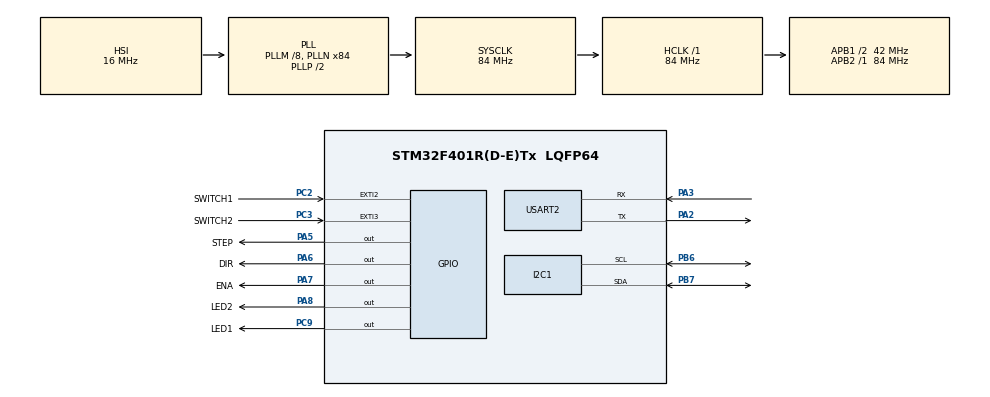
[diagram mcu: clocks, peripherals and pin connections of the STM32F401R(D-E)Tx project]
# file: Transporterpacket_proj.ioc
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Mcu.Family=STM32F4
Mcu.Name=STM32F401R(D-E)Tx
Mcu.Package=LQFP64
NVIC.EXTI2_IRQn=true\:0\:0\:false\:false\:true\:true\:true\:true
NVIC.EXTI3_IRQn=true\:0\:0\:false\:false\:true\:true\:true\:true
NVIC.PriorityGroup=NVIC_PRIORITYGROUP_4
NVIC.USART2_IRQn=true\:0\:0\:false\:false\:true\:true\:true\:true
PA2.Mode=Asynchronous
PA2.Signal=USART2_TX
PA3.Mode=Asynchronous
PA3.Signal=USART2_RX
PA5.GPIO_Label=STEP
PA5.Signal=GPIO_Output
PA6.GPIO_Label=DIR
PA6.Signal=GPIO_Output
PA7.GPIO_Label=ENA
PA7.PinState=GPIO_PIN_SET
PA7.Signal=GPIO_Output
PA8.GPIO_Label=LED2
PA8.Signal=GPIO_Output
PB6.Mode=I2C
PB6.Signal=I2C1_SCL
PB7.Mode=I2C
PB7.Signal=I2C1_SDA
PC2.GPIO_Label=SWITCH1
PC2.GPIO_ModeDefaultEXTI=GPIO_MODE_IT_FALLING
PC2.Signal=GPXTI2
PC3.GPIO_Label=SWITCH2
PC3.GPIO_ModeDefaultEXTI=GPIO_MODE_IT_FALLING
PC3.Signal=GPXTI3
PC9.GPIO_Label=LED1
PC9.Signal=GPIO_Output
ProjectManager.HeapSize=0x200
ProjectManager.StackSize=0x400
ProjectManager.TargetToolchain=STM32CubeIDE
RCC.48MHZClocksFreq_Value=42000000
RCC.AHBFreq_Value=84000000
RCC.APB1CLKDivider=RCC_HCLK_DIV2
RCC.APB1Freq_Value=42000000
RCC.APB1TimFreq_Value=84000000
RCC.APB2Freq_Value=84000000
RCC.APB2TimFreq_Value=84000000
RCC.CortexFreq_Value=84000000
RCC.HCLKFreq_Value=84000000
RCC.HSE_VALUE=25000000
RCC.HSI_VALUE=16000000
RCC.LSE_VALUE=32768
RCC.PLLM=8
RCC.PLLN=84
RCC.SYSCLKFreq_VALUE=84000000
RCC.SYSCLKSource=RCC_SYSCLKSOURCE_PLLCLK
RCC.VCOOutputFreq_Value=168000000
USART2.VirtualMode=VM_ASYNC
board=custom

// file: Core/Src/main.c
/* USER CODE BEGIN Header */
/**
  ******************************************************************************
  * @file           : main.c
  * @brief          : Main program body
  ******************************************************************************
  * @attention
  *
  * Copyright (c) 2023 STMicroelectronics.
  * All rights reserved.
  *
  * This software is licensed under terms that can be found in the LICENSE file
  * in the root directory of this software component.
  * If no LICENSE file comes with this software, it is provided AS-IS.
  *
  ******************************************************************************
  */
/* USER CODE END Header */
#include "main.h"

/* USER CODE BEGIN Includes */
#include <stdio.h>

/* USER CODE END Includes */

/* USER CODE BEGIN PTD */
typedef enum{
	STOP_STATE = 0,
	PACKET_STATE
}dev_state_t;

typedef enum{
	FORWARD_DIR = GPIO_PIN_RESET,
	BACKWARD_DIR = GPIO_PIN_SET,
	STOP_DIR = 2
}motor_direction_t;
/* USER CODE END PTD */

/* USER CODE BEGIN PD */
#define SET_DEV_STATE(state)(dev_state = state)
#define GET_DEV_STATE()(dev_state)

#define SET_DIRECTION(dir)(motor_dir = dir)
#define GET_DIRECTION()(motor_dir)

/* USER CODE END PD */

I2C_HandleTypeDef hi2c1;

UART_HandleTypeDef huart2;

void SystemClock_Config(void);
static void MX_GPIO_Init(void);
static void MX_I2C1_Init(void);
static void MX_USART2_UART_Init(void);
/* USER CODE BEGIN PFP */
int _write(int file, char *ptr, int len)
{
	int DataIdx;

	for (DataIdx = 0; DataIdx < len; DataIdx++)
	{
		ITM_SendChar(*ptr++);
	}
	return len;
}

static void enterPacketState(void);
static void enterStopState(void);
static void enableMotor(void);
static void disableMotor(void);

static void sendConfirmMessage(void);
/* USER CODE END PFP */

/* USER CODE BEGIN 0 */
dev_state_t dev_state = STOP_STATE;
motor_direction_t motor_dir = STOP_DIR;
uint8_t RxByte;

//void aperiodicTask(void const *arg);
//xTaskCreate((void*)aperiodicTask, "aperiodciTask", configMINIMAL_STACK_SIZE, NULL, 2, NULL);
//vTaskDelete(NULL); dins de aperiodictask

/* USER CODE END 0 */

int main(void)
{

  /* MCU Configuration--------------------------------------------------------*/

  /* Reset of all peripherals, Initializes the Flash interface and the Systick. */
  HAL_Init();

  /* Configure the system clock */
  SystemClock_Config();

  /* Initialize all configured peripherals */
  MX_GPIO_Init();
  MX_I2C1_Init();
  MX_USART2_UART_Init();
  /* USER CODE BEGIN 2 */

  HAL_UART_Receive_IT(&huart2, &RxByte, 1);

  /* USER CODE END 2 */

  /* Infinite loop */
  /* USER CODE BEGIN WHILE */
  while (1)
  {
	  if(GET_DEV_STATE() == PACKET_STATE){
		  uint8_t dir = GET_DIRECTION();
		  if((dir == FORWARD_DIR) || (dir == BACKWARD_DIR)){
			  HAL_GPIO_WritePin(DIR_GPIO_Port, DIR_Pin, dir);
			  HAL_GPIO_TogglePin(STEP_GPIO_Port, STEP_Pin);
		  }
		  else{
			  disableMotor();
		  }
	  }
	  HAL_Delay(1);
    /* USER CODE END WHILE */

  }
}

void SystemClock_Config(void)
{
  RCC_OscInitTypeDef RCC_OscInitStruct = {0};
  RCC_ClkInitTypeDef RCC_ClkInitStruct = {0};

  /** Configure the main internal regulator output voltage
  */
  __HAL_RCC_PWR_CLK_ENABLE();
  __HAL_PWR_VOLTAGESCALING_CONFIG(PWR_REGULATOR_VOLTAGE_SCALE2);

  /** Initializes the RCC Oscillators according to the specified parameters
  * in the RCC_OscInitTypeDef structure.
  */
  RCC_OscInitStruct.OscillatorType = RCC_OSCILLATORTYPE_HSI;
  RCC_OscInitStruct.HSIState = RCC_HSI_ON;
  RCC_OscInitStruct.HSICalibrationValue = RCC_HSICALIBRATION_DEFAULT;
  RCC_OscInitStruct.PLL.PLLState = RCC_PLL_ON;
  RCC_OscInitStruct.PLL.PLLSource = RCC_PLLSOURCE_HSI;
  RCC_OscInitStruct.PLL.PLLM = 8;
  RCC_OscInitStruct.PLL.PLLN = 84;
  RCC_OscInitStruct.PLL.PLLP = RCC_PLLP_DIV2;
  RCC_OscInitStruct.PLL.PLLQ = 4;
  if (HAL_RCC_OscConfig(&RCC_OscInitStruct) != HAL_OK)
  {
    Error_Handler();
  }

  /** Initializes the CPU, AHB and APB buses clocks
  */
  RCC_ClkInitStruct.ClockType = RCC_CLOCKTYPE_HCLK|RCC_CLOCKTYPE_SYSCLK
                              |RCC_CLOCKTYPE_PCLK1|RCC_CLOCKTYPE_PCLK2;
  RCC_ClkInitStruct.SYSCLKSource = RCC_SYSCLKSOURCE_PLLCLK;
  RCC_ClkInitStruct.AHBCLKDivider = RCC_SYSCLK_DIV1;
  RCC_ClkInitStruct.APB1CLKDivider = RCC_HCLK_DIV2;
  RCC_ClkInitStruct.APB2CLKDivider = RCC_HCLK_DIV1;

  if (HAL_RCC_ClockConfig(&RCC_ClkInitStruct, FLASH_LATENCY_2) != HAL_OK)
  {
    Error_Handler();
  }
}

static void MX_I2C1_Init(void)
{

  hi2c1.Instance = I2C1;
  hi2c1.Init.ClockSpeed = 100000;
  hi2c1.Init.DutyCycle = I2C_DUTYCYCLE_2;
  hi2c1.Init.OwnAddress1 = 0;
  hi2c1.Init.AddressingMode = I2C_ADDRESSINGMODE_7BIT;
  hi2c1.Init.DualAddressMode = I2C_DUALADDRESS_DISABLE;
  hi2c1.Init.OwnAddress2 = 0;
  hi2c1.Init.GeneralCallMode = I2C_GENERALCALL_DISABLE;
  hi2c1.Init.NoStretchMode = I2C_NOSTRETCH_DISABLE;
  if (HAL_I2C_Init(&hi2c1) != HAL_OK)
  {
    Error_Handler();
  }

}

static void MX_USART2_UART_Init(void)
{

  huart2.Instance = USART2;
  huart2.Init.BaudRate = 115200;
  huart2.Init.WordLength = UART_WORDLENGTH_8B;
  huart2.Init.StopBits = UART_STOPBITS_1;
  huart2.Init.Parity = UART_PARITY_NONE;
  huart2.Init.Mode = UART_MODE_TX_RX;
  huart2.Init.HwFlowCtl = UART_HWCONTROL_NONE;
  huart2.Init.OverSampling = UART_OVERSAMPLING_16;
  if (HAL_UART_Init(&huart2) != HAL_OK)
  {
    Error_Handler();
  }

}

static void MX_GPIO_Init(void)
{
  GPIO_InitTypeDef GPIO_InitStruct = {0};

  /* GPIO Ports Clock Enable */
  __HAL_RCC_GPIOC_CLK_ENABLE();
  __HAL_RCC_GPIOA_CLK_ENABLE();
  __HAL_RCC_GPIOB_CLK_ENABLE();

  /*Configure GPIO pin Output Level */
  HAL_GPIO_WritePin(GPIOA, STEP_Pin|DIR_Pin|LED2_Pin, GPIO_PIN_RESET);

  /*Configure GPIO pin Output Level */
  HAL_GPIO_WritePin(ENA_GPIO_Port, ENA_Pin, GPIO_PIN_SET);

  /*Configure GPIO pin Output Level */
  HAL_GPIO_WritePin(LED1_GPIO_Port, LED1_Pin, GPIO_PIN_RESET);

  /*Configure GPIO pins : SWITCH1_Pin SWITCH2_Pin */
  GPIO_InitStruct.Pin = SWITCH1_Pin|SWITCH2_Pin;
  GPIO_InitStruct.Mode = GPIO_MODE_IT_FALLING;
  GPIO_InitStruct.Pull = GPIO_NOPULL;
  HAL_GPIO_Init(GPIOC, &GPIO_InitStruct);

  /*Configure GPIO pins : STEP_Pin DIR_Pin ENA_Pin LED2_Pin */
  GPIO_InitStruct.Pin = STEP_Pin|DIR_Pin|ENA_Pin|LED2_Pin;
  GPIO_InitStruct.Mode = GPIO_MODE_OUTPUT_PP;
  GPIO_InitStruct.Pull = GPIO_NOPULL;
  GPIO_InitStruct.Speed = GPIO_SPEED_FREQ_LOW;
  HAL_GPIO_Init(GPIOA, &GPIO_InitStruct);

  /*Configure GPIO pin : LED1_Pin */
  GPIO_InitStruct.Pin = LED1_Pin;
  GPIO_InitStruct.Mode = GPIO_MODE_OUTPUT_PP;
  GPIO_InitStruct.Pull = GPIO_NOPULL;
  GPIO_InitStruct.Speed = GPIO_SPEED_FREQ_LOW;
  HAL_GPIO_Init(LED1_GPIO_Port, &GPIO_InitStruct);

  /* EXTI interrupt init*/
  HAL_NVIC_SetPriority(EXTI2_IRQn, 0, 0);
  HAL_NVIC_EnableIRQ(EXTI2_IRQn);

  HAL_NVIC_SetPriority(EXTI3_IRQn, 0, 0);
  HAL_NVIC_EnableIRQ(EXTI3_IRQn);

}

/* USER CODE BEGIN 4 */
void HAL_UART_RxCpltCallback(UART_HandleTypeDef *huart){
	if(huart->Instance == USART2){
		if(RxByte == 'R'){
			enterPacketState();
		}
	}
}

void HAL_GPIO_EXTI_Callback(uint16_t GPIO_pin){

	if(GPIO_pin == SWITCH1_Pin){
		if(GET_DEV_STATE() == PACKET_STATE){

			SET_DIRECTION(STOP_DIR);
			enterStopState();
			sendConfirmMessage();

		}

	}
	else if(GPIO_pin == SWITCH2_Pin){
		if(GET_DEV_STATE() == PACKET_STATE){

			SET_DIRECTION(BACKWARD_DIR);
		}
	}

}
static void enterPacketState(){
	SET_DEV_STATE(PACKET_STATE);
	SET_DIRECTION(FORWARD_DIR);
	enableMotor();
//	HAL_GPIO_WritePin(LED1_GPIO_Port, LED1_Pin, GPIO_PIN_SET);
//	HAL_GPIO_WritePin(LED2_GPIO_Port, LED2_Pin, GPIO_PIN_RESET);
}
static void enterStopState(){
	SET_DEV_STATE(STOP_STATE);
	disableMotor();
//	HAL_GPIO_WritePin(LED1_GPIO_Port, LED1_Pin, GPIO_PIN_RESET);
//	HAL_GPIO_WritePin(LED2_GPIO_Port, LED2_Pin, GPIO_PIN_SET);

}
static void enableMotor(){
	HAL_GPIO_WritePin(ENA_GPIO_Port, ENA_Pin, GPIO_PIN_RESET);
}
static void disableMotor(){
	HAL_GPIO_WritePin(ENA_GPIO_Port, ENA_Pin, GPIO_PIN_SET);
}

static void sendConfirmMessage(void){
  uint8_t mssg = 'F';
  HAL_UART_Transmit(&huart2, &mssg, sizeof(mssg), HAL_MAX_DELAY);
  HAL_UART_Receive_IT(&huart2, &RxByte, 1);
}
/* USER CODE END 4 */

void Error_Handler(void)
{
  __disable_irq();
  while (1)
  {
  }
}
